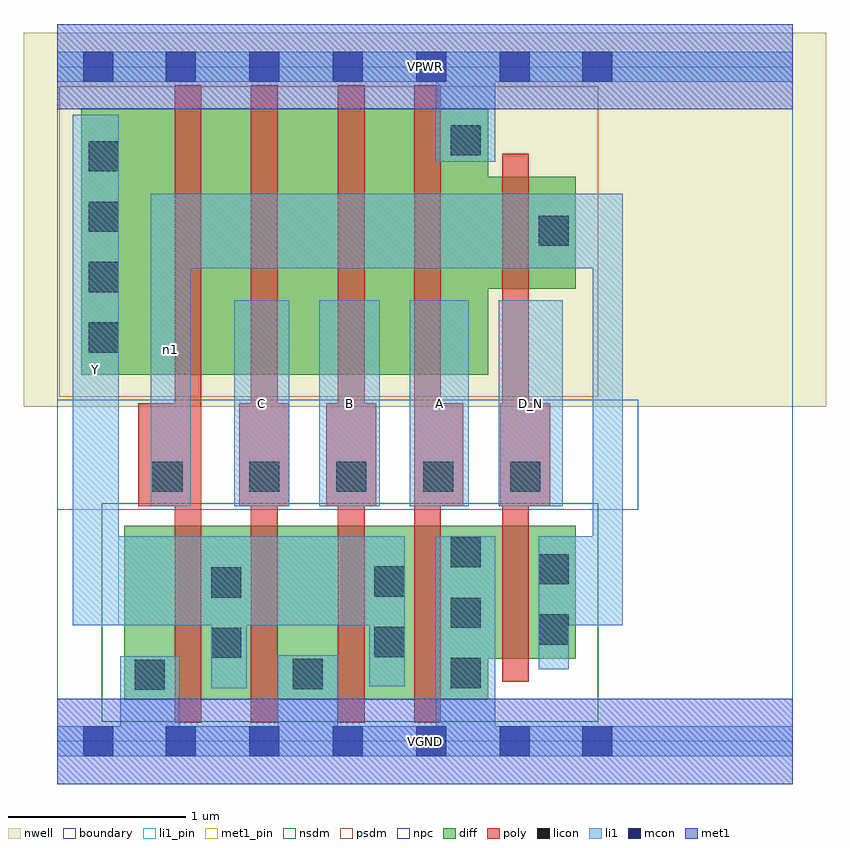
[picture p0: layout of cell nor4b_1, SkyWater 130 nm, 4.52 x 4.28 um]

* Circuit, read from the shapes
.subckt nor4b_1 A B C D_N VGND VPWR Y n1
XM1 Y n1 VGND VSUBS sky130_fd_pr__nfet_01v8 w=0.98 l=0.15
XM2 VGND C Y VSUBS sky130_fd_pr__nfet_01v8 w=0.98 l=0.15
XM3 Y B VGND VSUBS sky130_fd_pr__nfet_01v8 w=0.98 l=0.15
XM4 VGND A Y VSUBS sky130_fd_pr__nfet_01v8 w=0.98 l=0.15
XM5 n1 D_N VGND VSUBS sky130_fd_pr__nfet_01v8 w=0.75 l=0.15
XM6 n2 n1 Y n3 sky130_fd_pr__pfet_01v8 w=1.5 l=0.15
XM7 n4 C n2 n3 sky130_fd_pr__pfet_01v8 w=1.5 l=0.15
XM8 n5 B n4 n3 sky130_fd_pr__pfet_01v8 w=1.5 l=0.15
XM9 VPWR A n5 n3 sky130_fd_pr__pfet_01v8 w=1.5 l=0.15
XM10 n1 D_N VPWR n3 sky130_fd_pr__pfet_01v8 w=0.63 l=0.15
.ends

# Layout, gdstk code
import gdstk
lib = gdstk.Library(unit=1e-6, precision=1e-09)
def R(c, l, rs):  # rectangles x0, y0, x1, y1
    for r in rs: c.add(gdstk.rectangle(r[:2], r[2:], *l))
def A(c, l, x, y, w, h, nx, ny, dx, dy):  # array of equal rectangles
    R(c, l, [(x+i*dx, y+j*dy, x+i*dx+w, y+j*dy+h) for i in range(nx) for j in range(ny)])
nwell = (64, 20)
diff = (65, 20)
poly = (66, 20)
licon = (66, 44)
li1_pin = (67, 16)
li1 = (67, 20)
mcon = (67, 44)
met1_pin = (68, 16)
met1 = (68, 20)
nsdm = (93, 44)
psdm = (94, 20)
npc = (95, 20)
boundary = (235, 4)

nor4b_1 = lib.new_cell('nor4b_1')
R(nor4b_1, nwell, [(-0.19,1.885,4.33,3.99), (0,1.885,4.14,3.99)])
R(nor4b_1, diff, [(0.375,0.235,2.425,1.215), (0.375,0.465,2.92,1.215), (0.135,2.065,2.425,3.565), (0.135,2.55,2.92,3.18)])
R(nor4b_1, poly, [(0.66,0.105,0.81,3.695), (1.09,0.105,1.24,3.695), (1.58,0.105,1.73,3.695), (2.01,0.105,2.16,3.695), (2.505,0.335,2.655,3.31), (0.455,1.325,0.81,1.905), (1.025,1.325,1.305,1.905), (1.515,1.325,1.795,1.905), (2.01,1.325,2.285,1.905), (2.495,1.325,2.775,1.905)])
A(nor4b_1, licon, 2.215, 0.3, 0.17, 0.17, 1, 3, 0, 0.34)
A(nor4b_1, licon, 1.08, 1.405, 0.17, 0.17, 4, 1, 0.49, 0)
A(nor4b_1, licon, 0.175, 2.19, 0.17, 0.17, 1, 4, 0, 0.34)
R(nor4b_1, licon, [(0.435,0.29,0.605,0.46), (1.325,0.295,1.495,0.465), (0.865,0.47,1.035,0.64), (1.785,0.475,1.955,0.645), (2.71,0.545,2.88,0.715), (0.865,0.81,1.035,0.98), (1.785,0.815,1.955,0.985), (2.71,0.885,2.88,1.055), (0.535,1.405,0.705,1.575), (2.71,2.79,2.88,2.96), (2.215,3.3,2.385,3.47)])
R(nor4b_1, li1_pin, [(0.085,0.655,0.345,3.53), (0.995,1.325,1.305,2.485), (1.475,1.325,1.815,2.485), (1.985,1.325,2.315,2.485), (2.485,1.325,2.845,2.485)])
R(nor4b_1, li1, [(0,-0.085,4.14,0.085), (0.355,-0.085,0.69,0.48), (1.24,-0.085,1.58,0.485), (2.13,-0.085,2.465,1.155), (0.865,0.3,1.065,1.155), (1.755,0.31,1.955,1.155), (2.71,0.405,2.88,1.155), (0.085,0.655,0.345,3.53), (0.085,0.655,1.955,1.155), (2.71,0.655,3.185,1.155), (3.015,0.655,3.185,3.085), (0.525,1.325,0.75,3.085), (0.995,1.325,1.305,2.485), (1.475,1.325,1.815,2.485), (1.985,1.325,2.315,2.485), (2.485,1.325,2.845,2.485), (0.525,2.665,3.185,3.085), (2.13,3.265,2.465,3.885), (0,3.715,4.14,3.885)])
A(nor4b_1, mcon, 0.61, -0.085, 0.17, 0.17, 5, 2, 0.47, 3.8)
R(nor4b_1, mcon, [(0.145,-0.085,0.315,0.085), (2.955,-0.085,3.125,0.085), (0.145,3.715,0.315,3.885), (2.955,3.715,3.125,3.885)])
R(nor4b_1, met1_pin, [(0,-0.24,4.14,0.24), (0,3.56,4.14,4.04)])
R(nor4b_1, met1, [(0,-0.24,4.14,0.24), (0,3.56,4.14,4.04)])
R(nor4b_1, nsdm, [(0.25,0.11,3.045,1.34)])
R(nor4b_1, psdm, [(0.01,1.94,3.045,3.69)])
R(nor4b_1, npc, [(0,1.305,3.27,1.925)])
R(nor4b_1, boundary, [(0,0,4.14,3.8)])
nor4b_1.add(gdstk.Label('A', (2.15,1.905), layer=67, texttype=5))
nor4b_1.add(gdstk.Label('B', (1.645,1.905), layer=67, texttype=5))
nor4b_1.add(gdstk.Label('C', (1.15,1.905), layer=67, texttype=5))
nor4b_1.add(gdstk.Label('D_N', (2.665,1.905), layer=67, texttype=5))
nor4b_1.add(gdstk.Label('Y', (0.215,2.092), layer=67, texttype=5))
nor4b_1.add(gdstk.Label('n1', (0.637,2.205), layer=67, texttype=5))
nor4b_1.add(gdstk.Label('VPWR', (2.07,3.8), layer=68, texttype=5))
nor4b_1.add(gdstk.Label('VGND', (2.07,0), layer=68, texttype=5))
nor4b_1.add(gdstk.Label('A', (2.15,1.905), layer=67, texttype=16))
nor4b_1.add(gdstk.Label('B', (1.645,1.905), layer=67, texttype=16))
nor4b_1.add(gdstk.Label('C', (1.15,1.905), layer=67, texttype=16))
nor4b_1.add(gdstk.Label('D_N', (2.665,1.905), layer=67, texttype=16))
nor4b_1.add(gdstk.Label('Y', (0.215,2.092), layer=67, texttype=16))
nor4b_1.add(gdstk.Label('VPWR', (2.07,3.8), layer=68, texttype=16))
nor4b_1.add(gdstk.Label('VGND', (2.07,0), layer=68, texttype=16))

lib.write_gds('nor4b_1.gds')
